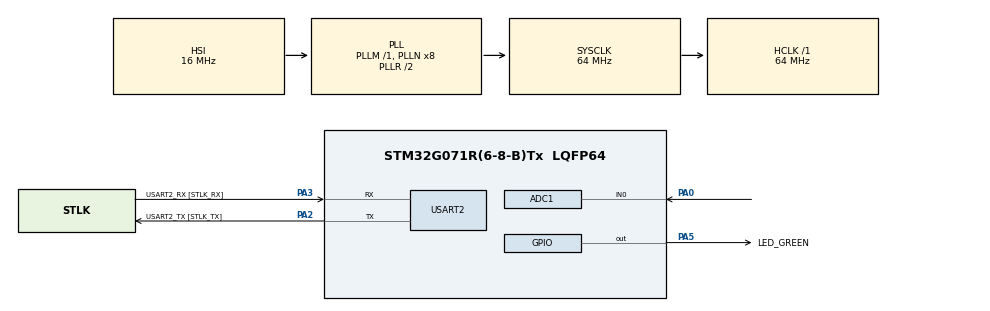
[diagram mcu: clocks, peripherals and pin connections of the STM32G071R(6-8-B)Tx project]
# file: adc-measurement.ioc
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ADC1.AWD1HighThreshold=3700
ADC1.AWD1ITMode=ENABLE
ADC1.Channel-1\#ChannelRegularConversion=ADC_CHANNEL_TEMPSENSOR
ADC1.Channel-2\#ChannelRegularConversion=ADC_CHANNEL_VREFINT
ADC1.Channel-3\#ChannelRegularConversion=ADC_CHANNEL_0
ADC1.ChannelTS=ADC_CHANNEL_TEMPSENSOR
ADC1.ChannelVREF=ADC_CHANNEL_VREFINT
ADC1.ContinuousConvMode=ENABLE
ADC1.DMAContinuousRequests=ENABLE
ADC1.DataAlign=ADC_DATAALIGN_RIGHT
ADC1.DiscontinuousConvMode=DISABLE
ADC1.EOCSelection=ADC_EOC_SEQ_CONV
ADC1.EnableAnalogWatchDog1=true
ADC1.EnableAnalogWatchDog2=false
ADC1.NbrOfConversion=3
ADC1.NbrOfConversionFlag=1
ADC1.Overrun=ADC_OVR_DATA_OVERWRITTEN
ADC1.Rank-1\#ChannelRegularConversion=1
ADC1.Rank-2\#ChannelRegularConversion=2
ADC1.Rank-3\#ChannelRegularConversion=3
ADC1.SamplingTime-1\#ChannelRegularConversion=ADC_SAMPLINGTIME_COMMON_1
ADC1.SamplingTime-2\#ChannelRegularConversion=ADC_SAMPLINGTIME_COMMON_1
ADC1.SamplingTime-3\#ChannelRegularConversion=ADC_SAMPLINGTIME_COMMON_1
ADC1.SamplingTimeCommon1=ADC_SAMPLETIME_160CYCLES_5
ADC1.SamplingTimeCommon2=ADC_SAMPLETIME_160CYCLES_5
ADC1.SelectedChannel=ADC_CHANNEL_0|ADC_CHANNEL_TEMPSENSOR|ADC_CHANNEL_VREFINT
ADC1.TriggerFrequencyMode=ADC_TRIGGER_FREQ_HIGH
ADC1.master=1
Dma.ADC1.0.Direction=DMA_PERIPH_TO_MEMORY
Dma.ADC1.0.EventEnable=DISABLE
Dma.ADC1.0.Instance=DMA1_Channel1
Dma.ADC1.0.MemDataAlignment=DMA_MDATAALIGN_HALFWORD
Dma.ADC1.0.MemInc=DMA_MINC_ENABLE
Dma.ADC1.0.Mode=DMA_CIRCULAR
Dma.ADC1.0.PeriphDataAlignment=DMA_PDATAALIGN_HALFWORD
Dma.ADC1.0.PeriphInc=DMA_PINC_DISABLE
Dma.ADC1.0.Polarity=HAL_DMAMUX_REQ_GEN_RISING
Dma.ADC1.0.Priority=DMA_PRIORITY_MEDIUM
Dma.ADC1.0.RequestNumber=1
Dma.ADC1.0.SignalID=NONE
Dma.ADC1.0.SyncEnable=DISABLE
Dma.ADC1.0.SyncPolarity=HAL_DMAMUX_SYNC_NO_EVENT
Dma.ADC1.0.SyncRequestNumber=1
Dma.ADC1.0.SyncSignalID=NONE
Dma.Request0=ADC1
Mcu.Family=STM32G0
Mcu.Name=STM32G071R(6-8-B)Tx
Mcu.Package=LQFP64
NVIC.ADC1_COMP_IRQn=true\:0\:0\:false\:false\:true\:true\:true\:true
NVIC.DMA1_Channel1_IRQn=true\:0\:0\:false\:false\:true\:false\:true\:true
PA0.Mode=IN0
PA0.Signal=ADC1_IN0
PA13.GPIO_Label=TMS
PA13.Mode=Serial_Wire
PA13.Signal=SYS_SWDIO
PA14-BOOT0.GPIO_Label=TCK
PA14-BOOT0.Mode=Serial_Wire
PA14-BOOT0.Signal=SYS_SWCLK
PA2.GPIO_Label=USART2_TX [STLK_TX]
PA2.GPIO_PuPd=GPIO_PULLUP
PA2.Mode=Asynchronous
PA2.Signal=USART2_TX
PA3.GPIO_Label=USART2_RX [STLK_RX]
PA3.GPIO_PuPd=GPIO_PULLUP
PA3.Mode=Asynchronous
PA3.Signal=USART2_RX
PA5.GPIO_Label=LED_GREEN
PA5.GPIO_Speed=GPIO_SPEED_FREQ_HIGH
PA5.Signal=GPIO_Output
PC13.Mode=SYS_WakeUp1
PC13.Signal=SYS_WKUP2
PC14-OSC32_IN\ (PC14).Mode=LSE-External-Oscillator
PC14-OSC32_IN\ (PC14).Signal=RCC_OSC32_IN
PC15-OSC32_OUT\ (PC15).Mode=LSE-External-Oscillator
PC15-OSC32_OUT\ (PC15).Signal=RCC_OSC32_OUT
PF0-OSC_IN\ (PF0).GPIO_Label=MCO
PF0-OSC_IN\ (PF0).Mode=HSE-External-Clock-Source
PF0-OSC_IN\ (PF0).Signal=RCC_OSC_IN
ProjectManager.HeapSize=0x200
ProjectManager.StackSize=0x400
ProjectManager.TargetToolchain=STM32CubeIDE
RCC.ADCFreq_Value=64000000
RCC.AHBFreq_Value=64000000
RCC.CortexFreq_Value=64000000
RCC.EXTERNAL_CLOCK_VALUE=12288000
RCC.HCLKFreq_Value=64000000
RCC.HSE_VALUE=8000000
RCC.HSI_VALUE=16000000
RCC.SYSCLKFreq_VALUE=64000000
RCC.SYSCLKSource=RCC_SYSCLKSOURCE_PLLCLK
RCC.VCOOutputFreq_Value=128000000
USART2.VirtualMode-Asynchronous=VM_ASYNC
VP_ADC1_TempSens_Input.Mode=IN-TempSens
VP_ADC1_Vref_Input.Mode=IN-Vrefint
board=NUCLEO-G071RB

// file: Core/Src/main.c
/* USER CODE BEGIN Header */
/**
  ******************************************************************************
  * @file           : main.c
  * @brief          : Main program body
  ******************************************************************************
  * @attention
  *
  * Copyright (c) 2022 STMicroelectronics.
  * All rights reserved.
  *
  * This software is licensed under terms that can be found in the LICENSE file
  * in the root directory of this software component.
  * If no LICENSE file comes with this software, it is provided AS-IS.
  *
  ******************************************************************************
  */
/* USER CODE END Header */
#include "main.h"

/* USER CODE BEGIN PD */

#define VDDA_APPLI                       (3300U)
/* USER CODE END PD */

ADC_HandleTypeDef hadc1;
DMA_HandleTypeDef hdma_adc1;

UART_HandleTypeDef huart2;

/* USER CODE BEGIN PV */
volatile uint32_t AD_RES = 0;

volatile uint16_t adc_values[ADC_DATA_BUFFER_SIZE];

volatile uint16_t internalTemp, vREf,externalVoltag,uknownVref;
volatile int16_t temp;

/* USER CODE END PV */

void SystemClock_Config(void);
static void MX_GPIO_Init(void);
static void MX_DMA_Init(void);
static void MX_USART2_UART_Init(void);
static void MX_ADC1_Init(void);

int main(void)
{

  /* MCU Configuration--------------------------------------------------------*/

  /* Reset of all peripherals, Initializes the Flash interface and the Systick. */
  HAL_Init();

  /* Configure the system clock */
  SystemClock_Config();

  /* Initialize all configured peripherals */
  MX_GPIO_Init();
  MX_DMA_Init();
  MX_USART2_UART_Init();
  MX_ADC1_Init();
  /* USER CODE BEGIN 2 */
  HAL_ADC_Start_DMA(&hadc1, (uint32_t *)adc_values, ADC_DATA_BUFFER_SIZE);
//  HAL_ADC_Start(&hadc1);
  /* USER CODE END 2 */

  /* Infinite loop */
  while (1)
  {

    /* USER CODE BEGIN 3 */
	  /**
	   * this will start the conversion. Means conversion is done every each interval.
	   * since it is the software start, so we need to call the function every time we need the convertsion
	   */
//	  HAL_ADC_Start(&hadc1);
	  HAL_Delay(10);
	  internalTemp = __LL_ADC_CALC_TEMPERATURE(VDDA_APPLI,adc_values[0],LL_ADC_RESOLUTION_12B);
	  vREf = __LL_ADC_CALC_DATA_TO_VOLTAGE(VDDA_APPLI,adc_values[1],LL_ADC_RESOLUTION_12B);
	  externalVoltag = __LL_ADC_CALC_DATA_TO_VOLTAGE(VDDA_APPLI,adc_values[2],LL_ADC_RESOLUTION_12B);
	  uknownVref = __LL_ADC_CALC_VREFANALOG_VOLTAGE(adc_values[1], LL_ADC_RESOLUTION_12B);

  }
  /* USER CODE END 3 */
}

void SystemClock_Config(void)
{
  RCC_OscInitTypeDef RCC_OscInitStruct = {0};
  RCC_ClkInitTypeDef RCC_ClkInitStruct = {0};

  /** Configure the main internal regulator output voltage
  */
  HAL_PWREx_ControlVoltageScaling(PWR_REGULATOR_VOLTAGE_SCALE1);

  /** Initializes the RCC Oscillators according to the specified parameters
  * in the RCC_OscInitTypeDef structure.
  */
  RCC_OscInitStruct.OscillatorType = RCC_OSCILLATORTYPE_HSI;
  RCC_OscInitStruct.HSIState = RCC_HSI_ON;
  RCC_OscInitStruct.HSIDiv = RCC_HSI_DIV1;
  RCC_OscInitStruct.HSICalibrationValue = RCC_HSICALIBRATION_DEFAULT;
  RCC_OscInitStruct.PLL.PLLState = RCC_PLL_ON;
  RCC_OscInitStruct.PLL.PLLSource = RCC_PLLSOURCE_HSI;
  RCC_OscInitStruct.PLL.PLLM = RCC_PLLM_DIV1;
  RCC_OscInitStruct.PLL.PLLN = 8;
  RCC_OscInitStruct.PLL.PLLP = RCC_PLLP_DIV2;
  RCC_OscInitStruct.PLL.PLLQ = RCC_PLLQ_DIV2;
  RCC_OscInitStruct.PLL.PLLR = RCC_PLLR_DIV2;
  if (HAL_RCC_OscConfig(&RCC_OscInitStruct) != HAL_OK)
  {
    Error_Handler();
  }

  /** Initializes the CPU, AHB and APB buses clocks
  */
  RCC_ClkInitStruct.ClockType = RCC_CLOCKTYPE_HCLK|RCC_CLOCKTYPE_SYSCLK
                              |RCC_CLOCKTYPE_PCLK1;
  RCC_ClkInitStruct.SYSCLKSource = RCC_SYSCLKSOURCE_PLLCLK;
  RCC_ClkInitStruct.AHBCLKDivider = RCC_SYSCLK_DIV1;
  RCC_ClkInitStruct.APB1CLKDivider = RCC_HCLK_DIV1;

  if (HAL_RCC_ClockConfig(&RCC_ClkInitStruct, FLASH_LATENCY_2) != HAL_OK)
  {
    Error_Handler();
  }
}

static void MX_ADC1_Init(void)
{

  ADC_AnalogWDGConfTypeDef AnalogWDGConfig = {0};
  ADC_ChannelConfTypeDef sConfig = {0};

  /** Configure the global features of the ADC (Clock, Resolution, Data Alignment and number of conversion)
  */
  hadc1.Instance = ADC1;
  hadc1.Init.ClockPrescaler = ADC_CLOCK_SYNC_PCLK_DIV2;
  hadc1.Init.Resolution = ADC_RESOLUTION_12B;
  hadc1.Init.DataAlign = ADC_DATAALIGN_RIGHT;
  hadc1.Init.ScanConvMode = ADC_SCAN_ENABLE;
  hadc1.Init.EOCSelection = ADC_EOC_SEQ_CONV;
  hadc1.Init.LowPowerAutoWait = DISABLE;
  hadc1.Init.LowPowerAutoPowerOff = DISABLE;
  hadc1.Init.ContinuousConvMode = ENABLE;
  hadc1.Init.NbrOfConversion = 3;
  hadc1.Init.DiscontinuousConvMode = DISABLE;
  hadc1.Init.ExternalTrigConv = ADC_SOFTWARE_START;
  hadc1.Init.ExternalTrigConvEdge = ADC_EXTERNALTRIGCONVEDGE_NONE;
  hadc1.Init.DMAContinuousRequests = ENABLE;
  hadc1.Init.Overrun = ADC_OVR_DATA_OVERWRITTEN;
  hadc1.Init.SamplingTimeCommon1 = ADC_SAMPLETIME_160CYCLES_5;
  hadc1.Init.SamplingTimeCommon2 = ADC_SAMPLETIME_160CYCLES_5;
  hadc1.Init.OversamplingMode = DISABLE;
  hadc1.Init.TriggerFrequencyMode = ADC_TRIGGER_FREQ_HIGH;
  if (HAL_ADC_Init(&hadc1) != HAL_OK)
  {
    Error_Handler();
  }

  /** Configure Analog WatchDog 1
  */
  AnalogWDGConfig.WatchdogNumber = ADC_ANALOGWATCHDOG_1;
  AnalogWDGConfig.WatchdogMode = ADC_ANALOGWATCHDOG_SINGLE_REG;
  AnalogWDGConfig.Channel = ADC_CHANNEL_0;
  AnalogWDGConfig.ITMode = ENABLE;
  AnalogWDGConfig.HighThreshold = 3700;
  AnalogWDGConfig.LowThreshold = 0;
  if (HAL_ADC_AnalogWDGConfig(&hadc1, &AnalogWDGConfig) != HAL_OK)
  {
    Error_Handler();
  }

  /** Configure Regular Channel
  */
  sConfig.Channel = ADC_CHANNEL_TEMPSENSOR;
  sConfig.Rank = ADC_REGULAR_RANK_1;
  sConfig.SamplingTime = ADC_SAMPLINGTIME_COMMON_1;
  if (HAL_ADC_ConfigChannel(&hadc1, &sConfig) != HAL_OK)
  {
    Error_Handler();
  }

  /** Configure Regular Channel
  */
  sConfig.Channel = ADC_CHANNEL_VREFINT;
  sConfig.Rank = ADC_REGULAR_RANK_2;
  if (HAL_ADC_ConfigChannel(&hadc1, &sConfig) != HAL_OK)
  {
    Error_Handler();
  }

  /** Configure Regular Channel
  */
  sConfig.Channel = ADC_CHANNEL_0;
  sConfig.Rank = ADC_REGULAR_RANK_3;
  if (HAL_ADC_ConfigChannel(&hadc1, &sConfig) != HAL_OK)
  {
    Error_Handler();
  }
  /* USER CODE BEGIN ADC1_Init 2 */
  HAL_ADCEx_Calibration_Start(&hadc1);
  /* USER CODE END ADC1_Init 2 */

}

static void MX_USART2_UART_Init(void)
{

  huart2.Instance = USART2;
  huart2.Init.BaudRate = 115200;
  huart2.Init.WordLength = UART_WORDLENGTH_8B;
  huart2.Init.StopBits = UART_STOPBITS_1;
  huart2.Init.Parity = UART_PARITY_NONE;
  huart2.Init.Mode = UART_MODE_TX_RX;
  huart2.Init.HwFlowCtl = UART_HWCONTROL_NONE;
  huart2.Init.OverSampling = UART_OVERSAMPLING_16;
  huart2.Init.OneBitSampling = UART_ONE_BIT_SAMPLE_DISABLE;
  huart2.Init.ClockPrescaler = UART_PRESCALER_DIV1;
  huart2.AdvancedInit.AdvFeatureInit = UART_ADVFEATURE_NO_INIT;
  if (HAL_UART_Init(&huart2) != HAL_OK)
  {
    Error_Handler();
  }
  if (HAL_UARTEx_SetTxFifoThreshold(&huart2, UART_TXFIFO_THRESHOLD_1_8) != HAL_OK)
  {
    Error_Handler();
  }
  if (HAL_UARTEx_SetRxFifoThreshold(&huart2, UART_RXFIFO_THRESHOLD_1_8) != HAL_OK)
  {
    Error_Handler();
  }
  if (HAL_UARTEx_DisableFifoMode(&huart2) != HAL_OK)
  {
    Error_Handler();
  }

}

static void MX_DMA_Init(void)
{

  /* DMA controller clock enable */
  __HAL_RCC_DMA1_CLK_ENABLE();

  /* DMA interrupt init */
  /* DMA1_Channel1_IRQn interrupt configuration */
  HAL_NVIC_SetPriority(DMA1_Channel1_IRQn, 0, 0);
  HAL_NVIC_EnableIRQ(DMA1_Channel1_IRQn);

}

static void MX_GPIO_Init(void)
{
  GPIO_InitTypeDef GPIO_InitStruct = {0};

  /* GPIO Ports Clock Enable */
  __HAL_RCC_GPIOC_CLK_ENABLE();
  __HAL_RCC_GPIOF_CLK_ENABLE();
  __HAL_RCC_GPIOA_CLK_ENABLE();

  /*Configure GPIO pin Output Level */
  HAL_GPIO_WritePin(LED_GREEN_GPIO_Port, LED_GREEN_Pin, GPIO_PIN_RESET);

  /*Configure GPIO pin : LED_GREEN_Pin */
  GPIO_InitStruct.Pin = LED_GREEN_Pin;
  GPIO_InitStruct.Mode = GPIO_MODE_OUTPUT_PP;
  GPIO_InitStruct.Pull = GPIO_NOPULL;
  GPIO_InitStruct.Speed = GPIO_SPEED_FREQ_HIGH;
  HAL_GPIO_Init(LED_GREEN_GPIO_Port, &GPIO_InitStruct);

}

/* USER CODE BEGIN 4 */

/**
  * @brief  Analog watchdog callback in non blocking mode.
  * @param  hadc: ADC handle
  * @retval None
  */
void HAL_ADC_LevelOutOfWindowCallback(ADC_HandleTypeDef* hadc)
{
  AD_RES = 1;
}

void HAL_ADC_ConvCpltCallback(ADC_HandleTypeDef* hadc)
{
//	HAL_ADC_Start(&hadc1);
}

/* USER CODE END 4 */

void Error_Handler(void)
{
  __disable_irq();
  while (1)
  {
  }
}
